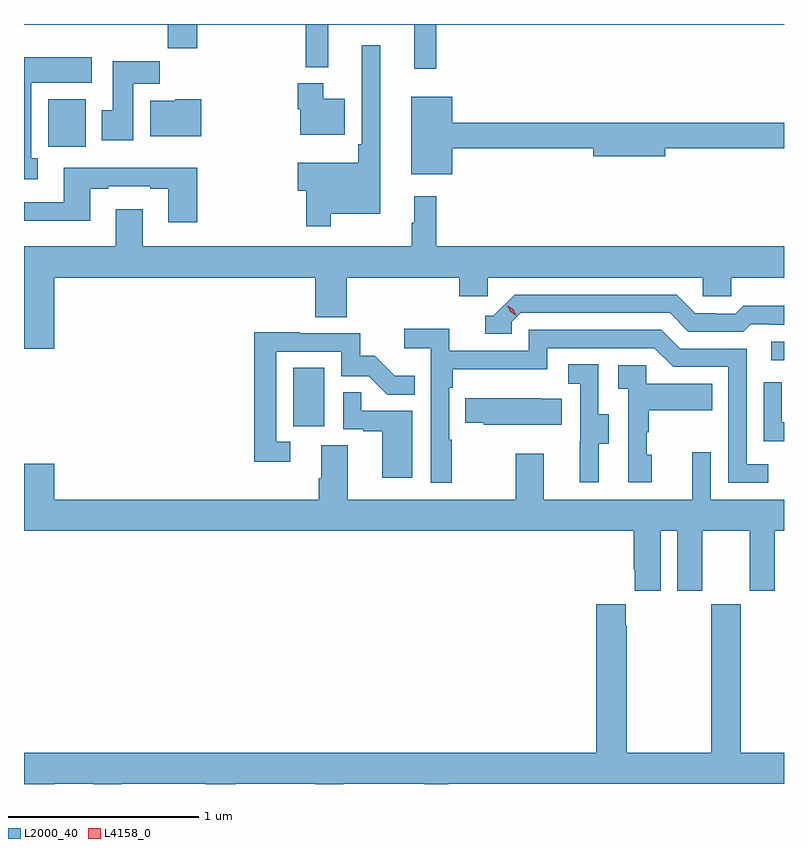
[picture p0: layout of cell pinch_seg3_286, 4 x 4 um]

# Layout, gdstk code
import gdstk
lib = gdstk.Library(unit=1e-6, precision=1e-09)
def R(c, l, rs):  # rectangles x0, y0, x1, y1
    for r in rs: c.add(gdstk.rectangle(r[:2], r[2:], *l))
def P(c, l, *ps):  # polygons
    for p in ps: c.add(gdstk.Polygon(p, *l))
L2000_40 = (2000, 40)
L4158_0 = (4158, 0)

pinch_seg3_286 = lib.new_cell('pinch_seg3_286')
R(pinch_seg3_286, L2000_40, [(921.674,716.118,921.838,716.425), (924.189,716.466,924.257,716.562), (920.385,717.588,920.581,717.838)])
P(pinch_seg3_286, L2000_40, [(922.427,718.232),(924.257,718.232),(924.257,718.235),(920.257,718.235),(920.257,718.232),(921.013,718.232),(921.013,718.108),(921.17,718.108),(921.17,718.232),(921.739,718.232),(921.739,718.007),(921.857,718.007),(921.857,718.232),(922.31,718.232),(922.31,717.999),(922.427,717.999)],
  [(921.871,717.236),(922.132,717.236),(922.132,718.123),(922.035,718.123),(922.035,717.601),(922.015,717.601),(922.015,717.505),(921.698,717.505),(921.698,717.358),(921.742,717.358),(921.742,717.171),(921.871,717.171)],
  [(920.329,717.529),(920.296,717.529),(920.296,717.926),(920.614,717.926),(920.614,718.06),(920.257,718.06),(920.257,717.417),(920.329,717.417)],
  [(920.833,717.92),(920.972,717.92),(920.972,718.039),(920.723,718.039),(920.723,717.78),(920.666,717.78),(920.666,717.624),(920.833,717.624)],
  [(921.946,717.841),(921.832,717.841),(921.832,717.922),(921.698,717.922),(921.698,717.786),(921.71,717.786),(921.71,717.653),(921.946,717.653)],
  [(922.51,717.58),(923.252,717.58),(923.252,717.538),(923.632,717.538),(923.632,717.58),(924.257,717.58),(924.257,717.716),(922.51,717.716),(922.51,717.853),(922.295,717.853),(922.295,717.443),(922.51,717.443)],
  [(921.19,717.838),(921.054,717.838),(921.054,717.832),(920.921,717.832),(920.921,717.644),(921.19,717.644)],
  [(921.17,717.478),(920.465,717.478),(920.465,717.297),(920.257,717.297),(920.257,717.2),(920.605,717.2),(920.605,717.369),(920.701,717.369),(920.701,717.381),(920.921,717.381),(920.921,717.369),(921.017,717.369),(921.017,717.192),(921.17,717.192)],
  [(920.416,716.9),(921.791,716.9),(921.791,716.692),(921.956,716.692),(921.956,716.9),(922.547,716.9),(922.547,716.802),(922.698,716.802),(922.698,716.9),(923.829,716.9),(923.829,716.802),(923.979,716.802),(923.979,716.9),(924.257,716.9),(924.257,717.064),(922.427,717.064),(922.427,717.328),(922.31,717.328),(922.31,717.188),(922.299,717.188),(922.299,717.064),(920.881,717.064),(920.881,717.259),(920.741,717.259),(920.741,717.064),(920.257,717.064),(920.257,716.526),(920.416,716.526)],
  [(922.824,716.667),(922.872,716.715),(923.655,716.715),(923.754,716.616),(924.043,716.616),(924.082,716.655),(924.181,716.655),(924.181,716.652),(924.257,716.652),(924.257,716.752),(924.043,716.752),(924.001,716.709),(923.898,716.709),(923.898,716.712),(923.791,716.712),(923.692,716.811),(922.839,716.811),(922.728,716.7),(922.685,716.7),(922.685,716.604),(922.824,716.604)],
  [(922.507,716.048),(922.494,716.048),(922.494,716.321),(922.514,716.321),(922.514,716.417),(923.01,716.417),(923.01,716.529),(923.574,716.529),(923.673,716.43),(923.964,716.43),(923.964,715.821),(924.173,715.821),(924.173,715.917),(924.06,715.917),(924.06,716.526),(923.71,716.526),(923.611,716.625),(922.914,716.625),(922.914,716.514),(922.496,716.514),(922.496,716.63),(922.257,716.63),(922.257,716.528),(922.398,716.528),(922.398,715.821),(922.507,715.821)],
  [(921.658,716.037),(921.585,716.037),(921.585,716.511),(921.927,716.511),(921.927,716.382),(922.071,716.382),(922.169,716.284),(922.313,716.284),(922.313,716.383),(922.209,716.383),(922.102,716.49),(922.026,716.49),(922.026,716.607),(921.707,716.607),(921.707,716.612),(921.469,716.612),(921.469,715.932),(921.658,715.932)],
  [(923.281,716.026),(923.335,716.026),(923.335,716.181),(923.28,716.181),(923.28,716.444),(923.121,716.444),(923.121,716.341),(923.184,716.341),(923.184,716.037),(923.183,716.037),(923.183,715.824),(923.281,715.824)],
  [(923.56,715.968),(923.535,715.968),(923.535,716.087),(923.545,716.087),(923.545,716.201),(923.879,716.201),(923.879,716.341),(923.532,716.341),(923.532,716.439),(923.385,716.439),(923.385,716.315),(923.436,716.315),(923.436,715.824),(923.56,715.824)],
  [(924.257,716.138),(924.246,716.138),(924.246,716.35),(924.15,716.35),(924.15,716.04),(924.257,716.04)],
  [(922.3,716.199),(922.031,716.199),(922.031,716.297),(921.936,716.297),(921.936,716.103),(922.043,716.103),(922.043,716.091),(922.142,716.091),(922.142,715.848),(922.3,715.848)],
  [(923.087,716.263),(922.979,716.263),(922.979,716.266),(922.579,716.266),(922.579,716.137),(922.677,716.137),(922.677,716.126),(923.087,716.126)],
  [(923.608,715.568),(923.696,715.568),(923.696,715.251),(923.827,715.251),(923.827,715.568),(924.077,715.568),(924.077,715.251),(924.208,715.251),(924.208,715.568),(924.257,715.568),(924.257,715.732),(923.871,715.732),(923.871,715.981),(923.774,715.981),(923.774,715.732),(922.993,715.732),(922.993,715.972),(922.846,715.972),(922.846,715.732),(921.961,715.732),(921.961,716.018),(921.821,716.018),(921.821,715.844),(921.809,715.844),(921.809,715.732),(920.416,715.732),(920.416,715.921),(920.257,715.921),(920.257,715.568),(923.465,715.568),(923.465,715.363),(923.471,715.363),(923.471,715.251),(923.608,715.251)],
  [(920.257,714.235),(920.416,714.235),(920.416,714.236),(920.621,714.236),(920.621,714.235),(920.769,714.235),(920.769,714.236),(921.214,714.236),(921.214,714.235),(921.369,714.235),(921.369,714.236),(921.79,714.236),(921.79,714.235),(921.937,714.235),(921.937,714.236),(922.367,714.236),(922.367,714.235),(922.489,714.235),(922.489,714.236),(924.257,714.236),(924.257,714.4),(924.03,714.4),(924.03,715.18),(923.875,715.18),(923.875,714.4),(923.43,714.4),(923.43,715.067),(923.425,715.067),(923.425,715.18),(923.27,715.18),(923.27,714.4),(920.257,714.4)])
P(pinch_seg3_286, L4158_0, [(922.847,716.7),(922.817,716.72),(922.801,716.753),(922.801,716.754),(922.801,716.754),(922.832,716.734),(922.847,716.701),(922.847,716.7)])

lib.write_gds('pinch_seg3_286.gds')
